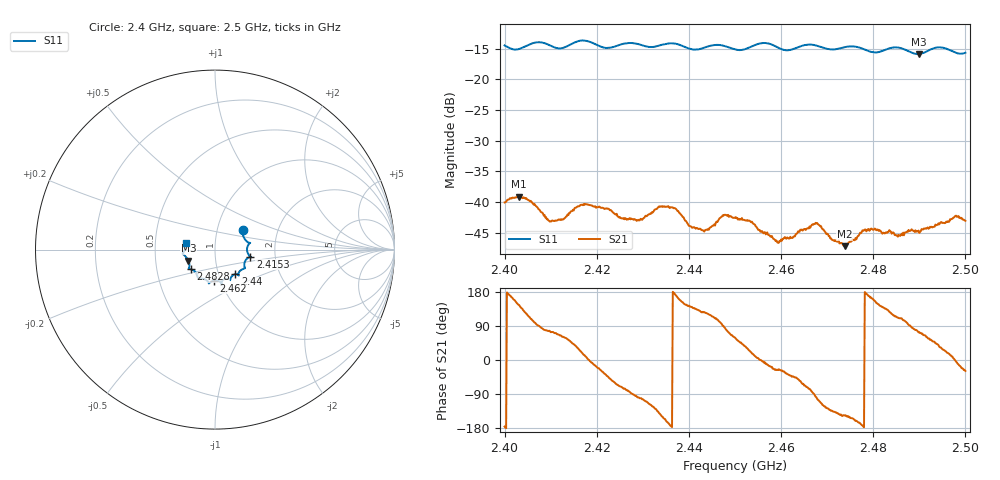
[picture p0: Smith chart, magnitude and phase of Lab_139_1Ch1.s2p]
# Hz S RI R 50
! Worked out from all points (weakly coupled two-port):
!   601 points, 2.4 GHz to 2.5 GHz, reference 50 ohm
!   highest |S21| = -39.09 dB at 2.4032 GHz (marker M1); lowest = -47.2 dB at 2.4738 GHz (marker M2)
!   lowest |S11| = -15.9 dB at 2.4898 GHz (marker M3), VSWR 1.38, Z = 36.8 - j4.61 ohm
!   |S11| at or under -10 dB: start of sweep to end of sweep
!   S12 and S22 are empty: the file has one direction only
!   S11 on the Smith chart (normalised r, x): 2.4 GHz: 1.33, +0.29; 2.4153 GHz: 1.48, -0.12; 2.44 GHz: 1.21, -0.34; 2.462 GHz: 0.93, -0.33; 2.4828 GHz: 0.74, -0.17; 2.5 GHz: 0.72, +0.06
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2.4e9  0.1553 0.1068  -0.00992 -0.000741  0 0  0 0
2.403167e9  0.1668 0.0573  -0.00908 0.00641  0 0  0 0
2.41e9  0.1855 0.0261  0.002 0.0067  0 0  0 0
2.415333e9  0.1962 -0.0388  0.00709 0.00558  0 0  0 0
2.416667e9  0.2019 -0.0429  0.00889 0.00339  0 0  0 0
2.428833e9  0.1627 -0.1053  -0.00106 -0.00706  0 0  0 0
2.433333e9  0.1308 -0.1336  -0.00655 -0.00625  0 0  0 0
2.436833e9  0.1321 -0.1438  -0.00895 0.000599  0 0  0 0
2.44e9  0.1141 -0.1364  -0.00517 0.00381  0 0  0 0
2.4435e9  0.0868 -0.1594  -0.00343 0.00482  0 0  0 0
2.4475e9  0.0832 -0.1679  1.57e-05 0.00777  0 0  0 0
2.45e9  0.0649 -0.1626  0.00382 0.00639  0 0  0 0
2.459e9  0.0311 -0.181  0.00437 -0.00218  0 0  0 0
2.462e9  -0.00517 -0.1731  0.00395 -0.00342  0 0  0 0
2.466667e9  -0.0344 -0.1879  0.0008 -0.00649  0 0  0 0
2.473833e9  -0.0867 -0.1605  -0.00366 -0.00242  0 0  0 0
2.478e9  -0.0989 -0.1449  -0.00589 -0.000247  0 0  0 0
2.482833e9  -0.1364 -0.1093  -0.00396 0.00408  0 0  0 0
2.483333e9  -0.1402 -0.109  -0.00367 0.00442  0 0  0 0
2.489833e9  -0.1482 -0.061  0.00172 0.00562  0 0  0 0
2.494167e9  -0.1806 -0.0222  0.00522 0.00426  0 0  0 0
2.5e9  -0.1596 0.0392  0.00619 -0.00341  0 0  0 0
